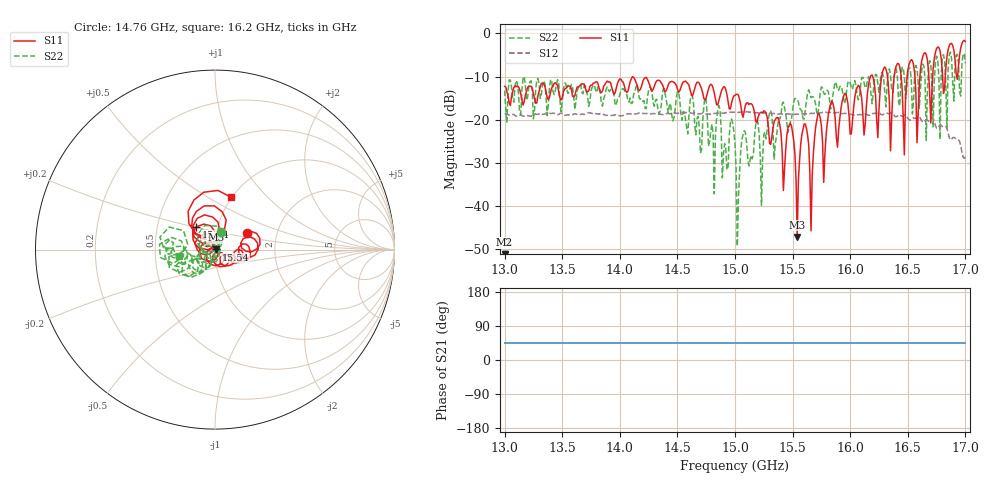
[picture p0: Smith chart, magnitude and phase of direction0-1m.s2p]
!Keysight Technologies,P9374A,MY57211810,A.19.30.04
!Date: Friday, May 02, 2025 09:35:37
!Correction: S11(Off)
!S21(Off)
!S12(Off)
!S22(Off)
!S2P File: Measurements: S11, S21, S12, S22:
# Hz S  dB  R 50
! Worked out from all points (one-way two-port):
!   401 points, 13 GHz to 17 GHz, reference 50 ohm
!   highest |S21| = - dB at 13 GHz (marker M1); lowest = - dB at 13 GHz (marker M2)
!   lowest |S11| = -47.1 dB at 15.54 GHz (marker M3), VSWR 1.01, Z = 50.4 + j0.0625 ohm
!   |S11| at or under -10 dB: start of sweep to 16.18 GHz; 16.19556 GHz to 16.27315 GHz (77.6 MHz wide, 0.478 % of centre); 16.32314 GHz to 16.38178 GHz (58.64 MHz wide, 0.359 % of centre) (the widest 3 of 8)
!   |S22| runs from -49.3 to -4.3 dB; largest |S21 - S12| = 0.12
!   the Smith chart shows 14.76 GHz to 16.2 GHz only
!   S11 on the Smith chart (normalised r, x): 14.76 GHz: 1.41, +0.28; 15.54 GHz: 1.01, +0.00; 15.84 GHz: 0.79, +0.20; 16.2 GHz: 0.99, +0.64
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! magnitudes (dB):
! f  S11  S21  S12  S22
! 13 GHz  -12.3  -  -18.6  -13.2
! 13.67 GHz  -11.7  -  -18.7  -13.6
! 14.34 GHz  -10.9  -  -18.7  -18.6
! 14.76 GHz  -13.9  -  -18.7  -19.6
! 15 GHz  -14.4  -  -18.2  -25.6
! 15.42 GHz  -36.4  -  -18.7  -15.9
! 15.48 GHz  -20.8  -  -18.7  -20.6
! 15.54 GHz  -47.1  -  -18.7  -15.2
! 15.6 GHz  -21.0  -  -18.6  -19.8
! 15.67 GHz  -33.0  -  -18.5  -14.6
! 15.72 GHz  -18.6  -  -18.4  -18.9
! 15.78 GHz  -28.2  -  -18.3  -14.1
! 15.84 GHz  -15.7  -  -18.3  -16.3
! 16.2 GHz  -10.3  -  -18.5  -13.7
! 16.34 GHz  -15.8  -  -18.6  -8.2
! 16.41 GHz  -7.0  -  -19.1  -10.2
! 16.47 GHz  -28.1  -  -18.9  -10.1
! 16.52 GHz  -6.5  -  -20.1  -8.1
! 16.58 GHz  -25.3  -  -19.4  -8.1
! 16.64 GHz  -4.7  -  -20.5  -7.6
! 16.7 GHz  -20.7  -  -19.9  -7.4
! 17 GHz  -1.9  -  -28.5  -6.9
